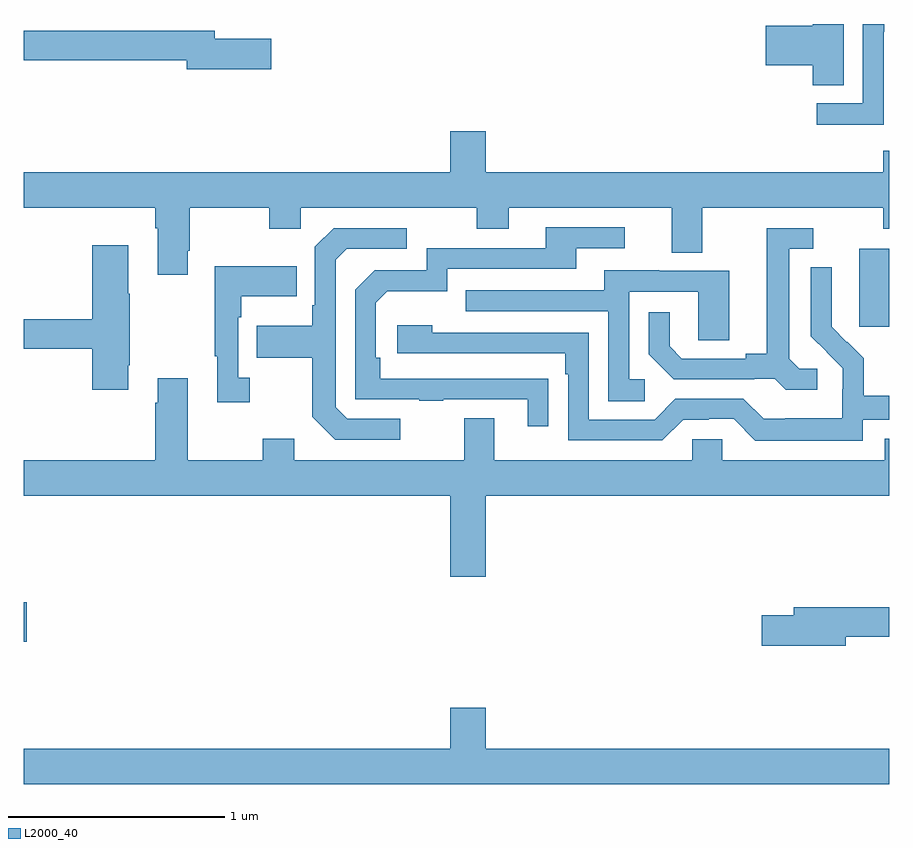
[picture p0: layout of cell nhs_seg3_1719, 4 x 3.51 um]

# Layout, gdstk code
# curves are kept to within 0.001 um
import gdstk
lib = gdstk.Library(unit=1e-6, precision=1e-09)
def R(c, l, rs):  # rectangles x0, y0, x1, y1
    for r in rs: c.add(gdstk.rectangle(r[:2], r[2:], *l))
def P(c, l, *ps):  # polygons
    for p in ps: c.add(gdstk.Polygon(p, *l))
L2000_40 = (2000, 40)

nhs_seg3_1719 = lib.new_cell('nhs_seg3_1719')
R(nhs_seg3_1719, L2000_40, [(199,729.545,199.015,729.728), (202.862,731.001,203,731.362)])
P(nhs_seg3_1719, L2000_40, [(202.974,732.364),(202.977,732.364),(202.977,732.4),(202.878,732.4),(202.878,732.033),(202.665,732.033),(202.665,731.935),(202.974,731.935)],
  [(202.789,732.4),(202.646,732.4),(202.646,732.392),(202.428,732.392),(202.428,732.209),(202.646,732.209),(202.646,732.118),(202.789,732.118)],
  [(200.143,732.332),(199.882,732.332),(199.882,732.368),(199,732.368),(199,732.232),(199.754,732.232),(199.754,732.19),(200.143,732.19)],
  [(199.759,731.353),(199.767,731.353),(199.767,731.552),(200.134,731.552),(200.134,731.453),(200.28,731.453),(200.28,731.552),(201.094,731.552),(201.094,731.453),(201.241,731.453),(201.241,731.552),(201.995,731.552),(201.995,731.344),(202.135,731.344),(202.135,731.552),(202.972,731.552),(202.972,731.453),(203,731.453),(203,731.815),(202.973,731.815),(202.973,731.716),(201.136,731.716),(201.136,731.905),(200.972,731.905),(200.972,731.716),(199,731.716),(199,731.552),(199.607,731.552),(199.607,731.456),(199.619,731.456),(199.619,731.241),(199.759,731.241)],
  [(201.425,730.76),(200.648,730.761),(200.648,730.858),(200.628,730.858),(200.628,731.112),(200.681,731.165),(200.958,731.165),(200.958,731.268),(201.553,731.268),(201.553,731.364),(201.778,731.364),(201.778,731.46),(201.413,731.46),(201.413,731.364),(200.862,731.364),(200.862,731.262),(200.622,731.262),(200.532,731.172),(200.532,730.665),(200.827,730.665),(200.827,730.66),(200.939,730.66),(200.939,730.665),(201.329,730.665),(201.329,730.542),(201.425,730.542)],
  [(200.74,730.575),(200.496,730.575),(200.442,730.629),(200.442,731.31),(200.493,731.361),(200.77,731.361),(200.77,731.457),(200.433,731.457),(200.346,731.37),(200.346,731.101),(200.334,731.101),(200.334,731.005),(200.077,731.005),(200.077,730.858),(200.334,730.858),(200.334,730.585),(200.439,730.479),(200.74,730.479)],
  [(202.666,730.806),(202.584,730.806),(202.537,730.853),(202.537,731.361),(202.648,731.361),(202.648,731.457),(202.433,731.457),(202.433,730.877),(202.337,730.877),(202.337,730.854),(202.042,730.854),(201.985,730.911),(201.985,731.068),(201.888,731.068),(201.888,730.874),(202.004,730.758),(202.376,730.758),(202.376,730.761),(202.47,730.761),(202.522,730.709),(202.666,730.709)],
  [(199.483,730.822),(199.491,730.822),(199.491,731.153),(199.483,731.153),(199.483,731.377),(199.316,731.377),(199.316,731.036),(199,731.036),(199,730.9),(199.316,730.9),(199.316,730.71),(199.483,730.71)],
  [(200.044,730.766),(199.992,730.766),(199.992,731.045),(200.005,731.045),(200.005,731.141),(200.261,731.141),(200.261,731.281),(199.884,731.281),(199.884,730.865),(199.895,730.865),(199.895,730.653),(200.044,730.653)],
  [(202.878,730.572),(203,730.572),(203,730.681),(202.883,730.681),(202.883,730.855),(202.806,730.932),(202.803,730.929),(202.733,731),(202.734,731.276),(202.638,731.276),(202.638,730.958),(202.784,730.81),(202.784,730.713),(202.782,730.713),(202.782,730.579),(202.519,730.579),(202.519,730.575),(202.419,730.575),(202.326,730.668),(202.011,730.668),(201.915,730.572),(201.612,730.572),(201.612,730.974),(200.888,730.974),(200.888,731.008),(200.727,731.008),(200.727,730.878),(201.503,730.878),(201.503,730.781),(201.516,730.781),(201.516,730.476),(201.951,730.476),(202.047,730.572),(202.166,730.572),(202.166,730.575),(202.281,730.575),(202.381,730.475),(202.878,730.475)],
  [(201.871,730.758),(201.798,730.758),(201.798,731.163),(202.116,731.163),(202.116,730.939),(202.261,730.939),(202.261,731.259),(201.937,731.259),(201.937,731.263),(201.683,731.263),(201.683,731.169),(201.043,731.169),(201.043,731.073),(201.702,731.073),(201.702,730.657),(201.871,730.657)],
  [(201.136,730.22),(203,730.22),(203,730.483),(202.979,730.483),(202.979,730.384),(202.227,730.384),(202.227,730.482),(202.089,730.482),(202.089,730.384),(201.175,730.384),(201.175,730.579),(201.035,730.579),(201.035,730.384),(200.251,730.384),(200.251,730.483),(200.104,730.483),(200.104,730.384),(199.759,730.384),(199.759,730.762),(199.619,730.762),(199.619,730.649),(199.607,730.649),(199.607,730.384),(199,730.384),(199,730.22),(200.972,730.22),(200.972,729.846),(201.136,729.846)],
  [(202.798,729.568),(203,729.568),(203,729.704),(202.559,729.704),(202.559,729.668),(202.41,729.668),(202.41,729.526),(202.798,729.526)],
  [(203,729.052),(201.136,729.052),(201.136,729.241),(200.972,729.241),(200.972,729.052),(199,729.052),(199,728.888),(203,728.888)])

lib.write_gds('nhs_seg3_1719.gds')
